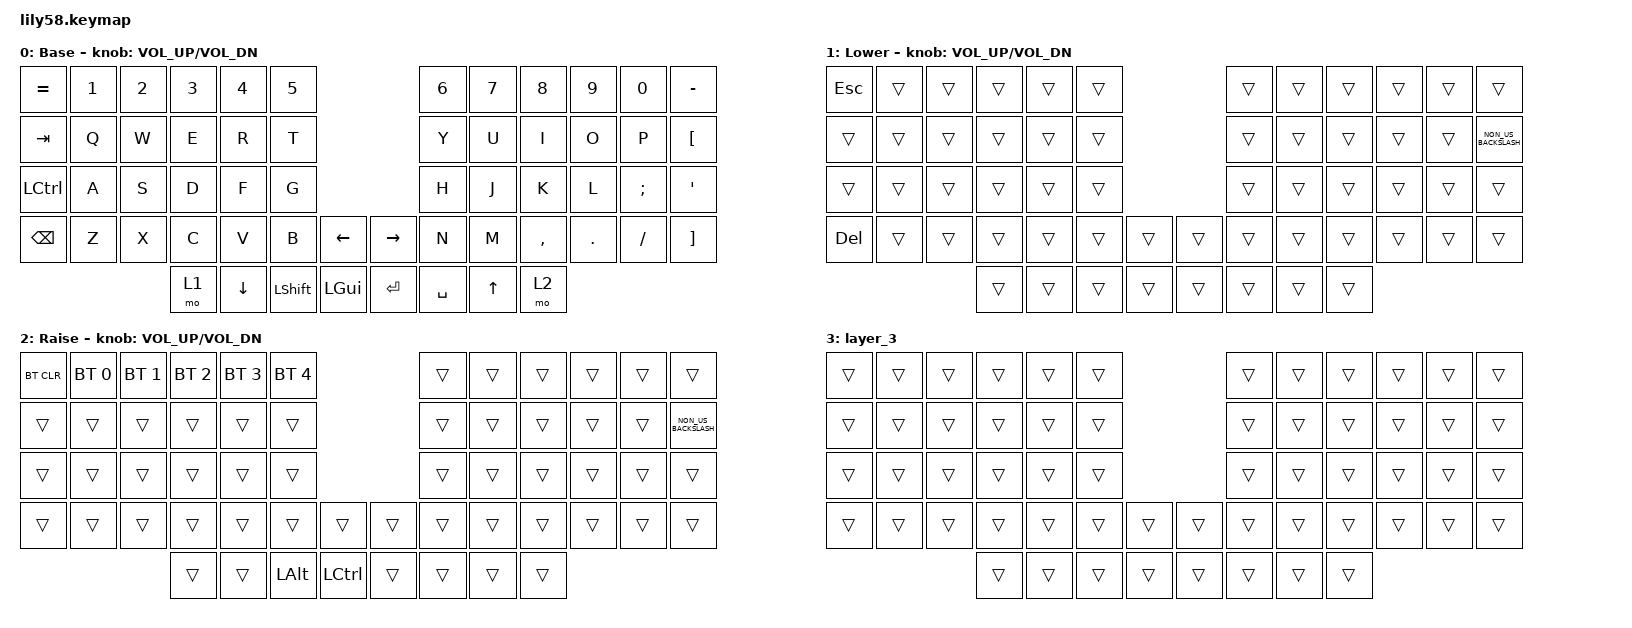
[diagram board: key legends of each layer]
/*
 * Copyright (c) 2020 The ZMK Contributors
 *
 * SPDX-License-Identifier: MIT
 */

#include <behaviors.dtsi>
#include <dt-bindings/zmk/bt.h>
#include <dt-bindings/zmk/keys.h>

/ {
    macros {
        ocuemail: ocuemail {
            compatible = "zmk,behavior-macro";
            #binding-cells = <0>;
            bindings = <&kp A &kp S &kp O &kp M &kp E &kp R &kp S &kp AT &kp O &kp K &kp C &kp U &kp DOT &kp E &kp D &kp U>;
            label = "OCUEMAIL";
        };

        gmail: gmail {
            compatible = "zmk,behavior-macro";
            #binding-cells = <0>;
            bindings = <&none &kp A &kp N &kp D &kp R &kp E &kp W &kp E &kp A &kp D &kp G &kp AT &kp G &kp M &kp A &kp I &kp L &kp DOT &kp C &kp O &kp M>;
            label = "GMAIL";
        };

        screenleft: screenleft {
            compatible = "zmk,behavior-macro";
            #binding-cells = <0>;
            bindings = <&kp LEFT_GUI &kp LEFT_ARROW>;
            label = "SCREENLEFT";
        };

        screenright: screenright {
            compatible = "zmk,behavior-macro";
            #binding-cells = <0>;
            bindings = <&kp LEFT_GUI &kp RIGHT_ARROW>;
            label = "SCREENRIGHT";
        };

        screenup: screenup {
            compatible = "zmk,behavior-macro";
            #binding-cells = <0>;
            bindings = <&kp LEFT_GUI &kp UP_ARROW>;
            label = "SCREENUP";
        };

        screendown: screendown {
            compatible = "zmk,behavior-macro";
            #binding-cells = <0>;
            bindings = <&kp LEFT_GUI &kp DOWN_ARROW>;
            label = "SCREENDOWN";
        };

        ocupw: ocupw {
            compatible = "zmk,behavior-macro";
            #binding-cells = <0>;
            bindings = <&none &kp N0 &kp LS(K) &kp C &kp U &kp N3 &kp N2 &kp N2 &kp N3 &kp N3 &kp N2 &kp N2 &kp N3 &kp EXCL>;
            label = "OCUPW";
        };

        gmailpw: gmailpw {
            compatible = "zmk,behavior-macro";
            #binding-cells = <0>;
            bindings = <&none &kp N6 &kp M &kp N4 &kp N1 &kp L &kp N3 &kp N2 &kp N2 &kp N3 &kp EXCL>;
            label = "GMAILPW";
        };
    };

    keymap {
        compatible = "zmk,keymap";

        default_layer {
            // ------------------------------------------------------------------------------------------------------------
            // |  ESC  |  1  |  2  |  3   |  4   |  5   |                   |  6   |  7    |  8    |  9   |   0   |   `   |
            // |  TAB  |  Q  |  W  |  E   |  R   |  T   |                   |  Y   |  U    |  I    |  O   |   P   |   -   |
            // |  CTRL |  A  |  S  |  D   |  F   |  G   |                   |  H   |  J    |  K    |  L   |   ;   |   '   |
            // | SHIFT |  Z  |  X  |  C   |  V   |  B   |   "["  |  |  "]"  |  N   |  M    |  ,    |  .   |   /   | SHIFT |
            //                     | ALT  | GUI  | LOWER|  SPACE |  | ENTER | RAISE| BSPC  | GUI   |

            display-name = "Base";
            bindings = <
&kp EQUAL         &kp N1  &kp N2  &kp N3  &kp N4          &kp N5                                         &kp N6     &kp N7        &kp N8     &kp N9   &kp N0    &kp MINUS
&kp TAB           &kp Q   &kp W   &kp E   &kp R           &kp T                                          &kp Y      &kp U         &kp I      &kp O    &kp P     &kp LEFT_BRACKET
&kp LEFT_CONTROL  &kp A   &kp S   &kp D   &kp F           &kp G                                          &kp H      &kp J         &kp K      &kp L    &kp SEMI  &kp SINGLE_QUOTE
&kp BACKSPACE     &kp Z   &kp X   &kp C   &kp V           &kp B       &kp LEFT_ARROW    &kp RIGHT_ARROW  &kp N      &kp M         &kp COMMA  &kp DOT  &kp FSLH  &kp RIGHT_BRACKET
                                  &mo 1   &kp DOWN_ARROW  &kp LSHIFT  &kp LGUI          &kp ENTER        &kp SPACE  &kp UP_ARROW  &mo 2
            >;

            sensor-bindings = <&inc_dec_kp C_VOL_UP C_VOL_DN>;
        };

        lower_layer {
            // ------------------------------------------------------------------------------------------------------------
            // | BTCLR | BT1 | BT2 |  BT3 |  BT4 |  BT5 |                   |      |       |       |      |       |       |
            // |  F1   |  F2 |  F3 |  F4  |  F5  |  F6  |                   |  F7  |  F8   |  F9   |  F10 |  F11  |  F12  |
            // |   `   |  !  |  @  |  #   |  $   |  %   |                   |  ^   |  &    |  *    |  (   |   )   |   ~   |
            // |       |     |     |      |      |      |        |  |       |      |  _    |  +    |  {   |   }   |  "|"  |
            //                     |      |      |      |        |  |       |      |       |       |

            display-name = "Lower";
            bindings = <
&kp ESCAPE  &trans  &trans  &trans  &trans  &trans                    &trans  &trans  &trans  &trans  &trans  &trans
&trans      &trans  &trans  &trans  &trans  &trans                    &trans  &trans  &trans  &trans  &trans  &kp NON_US_BACKSLASH
&trans      &trans  &trans  &trans  &trans  &trans                    &trans  &trans  &trans  &trans  &trans  &trans
&kp DEL     &trans  &trans  &trans  &trans  &trans  &trans    &trans  &trans  &trans  &trans  &trans  &trans  &trans
                            &trans  &trans  &trans  &trans    &trans  &trans  &trans  &trans
            >;

            sensor-bindings = <&inc_dec_kp C_VOL_UP C_VOL_DN>;
        };

        raise_layer {
            // ------------------------------------------------------------------------------------------------------------
            // |       |     |     |      |      |      |                   |      |       |       |      |       |       |
            // |   `   |  1  |  2  |  3   |  4   |  5   |                   |  6   |   7   |   8   |  9   |   0   |       |
            // |   F1  |  F2 |  F3 |  F4  |  F5  |  F6  |                   |      |   <-  |   v   |  ^   |  ->   |       |
            // |   F7  |  F8 |  F9 |  F10 |  F11 |  F12 |        |  |       |  +   |   -   |   =   |  [   |   ]   |   \   |
            //                     |      |      |      |        |  |       |      |       |       |

            display-name = "Raise";
            bindings = <
&bt BT_CLR  &bt BT_SEL 0  &bt BT_SEL 1  &bt BT_SEL 2  &bt BT_SEL 3  &bt BT_SEL 4                       &trans  &trans  &trans  &trans  &trans  &trans
&trans      &trans        &trans        &trans        &trans        &trans                             &trans  &trans  &trans  &trans  &trans  &kp NON_US_BACKSLASH
&trans      &trans        &trans        &trans        &trans        &trans                             &trans  &trans  &trans  &trans  &trans  &trans
&trans      &trans        &trans        &trans        &trans        &trans        &trans       &trans  &trans  &trans  &trans  &trans  &trans  &trans
                                        &trans        &trans        &kp LALT      &kp LCTRL    &trans  &trans  &trans  &trans
            >;

            sensor-bindings = <&inc_dec_kp C_VOL_UP C_VOL_DN>;
        };

        layer_3 {
            bindings = <
&trans  &trans  &trans  &trans  &trans  &trans                    &trans  &trans  &trans  &trans  &trans  &trans
&trans  &trans  &trans  &trans  &trans  &trans                    &trans  &trans  &trans  &trans  &trans  &trans
&trans  &trans  &trans  &trans  &trans  &trans                    &trans  &trans  &trans  &trans  &trans  &trans
&trans  &trans  &trans  &trans  &trans  &trans  &trans    &trans  &trans  &trans  &trans  &trans  &trans  &trans
                        &trans  &trans  &trans  &trans    &trans  &trans  &trans  &trans
            >;
        };
    };
};
